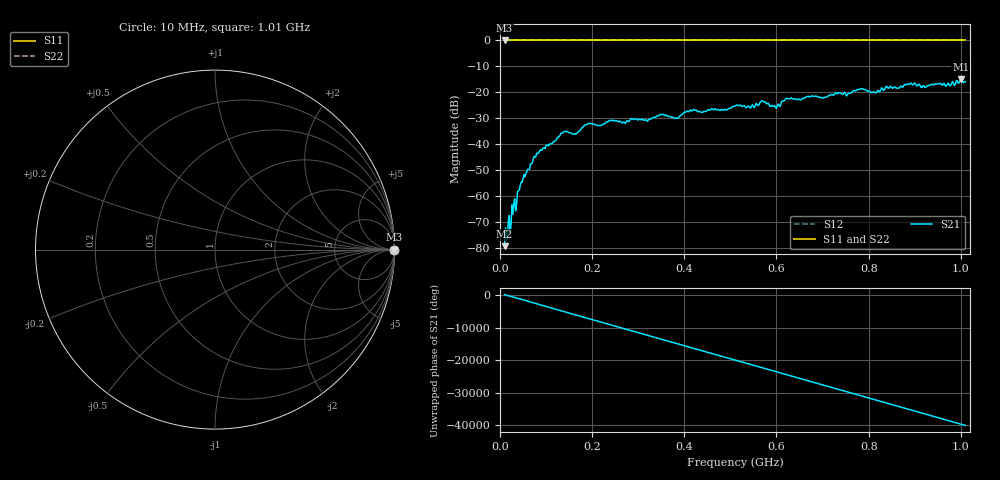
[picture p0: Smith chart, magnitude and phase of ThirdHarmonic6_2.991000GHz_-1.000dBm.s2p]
! 8/17/2025 8:31:34 AM
! C:\ANRITSUVNA\TEMP\TEMP.S2P
! CHANNEL.1
! TR.MEASUREMENT
! RAW.DATA
! RF.CORRECTION.OFF
! AVERAGING.OFF
! IF.BANDWIDTH: 5KHZ
! SWEEPTYPE:  FREQ.SWEEP(Linear)
! Reference Plane Port Info
! PORT:  PORT1  PORT2
! DISTANCE:  0  m  0  m
! TIME:  0  s  0  s
! PHASE.OFFSET:  0  deg.  0  deg.
! LOSS:  0  dB  0  dB
! REF.LOSS:  0  dB  0  dB
! REF.FREQ:  0  Hz  0  Hz
! Power Info
! POWER:  -20  dBm  -20  dBm
! EFF.POWER:  -20  dBm  -20  dBm
! SOURCE.ATTEN:  0  dB  0  dB
! TEST.ATTEN:  0  dB  0  dB
# GHZ S RI R 50.0
! FREQ.GHZ  S11RE  S11IM  S21RE  S21IM  S12RE  S12IM  S22RE  S22IM
!; PortSelection: Port_12
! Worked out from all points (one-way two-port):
!   501 points, 10 MHz to 1.01 GHz, reference 50 ohm
!   highest |S21| = -14.99 dB at 1 GHz (marker M1); lowest = -79.3 dB at 10 MHz (marker M2)
!   lowest |S11| = 0.0 dB at 10 MHz (marker M3)
!   |S11| at or under -10 dB: nowhere
!   |S22| runs from 0.0 to 0.0 dB; largest |S21 - S12| = 1.2
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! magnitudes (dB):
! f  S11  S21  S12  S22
! 10 MHz  0.0  -79.3  0.0  0.0
! 20 MHz  0.0  -67.5  0.0  0.0
! 42 MHz  0.0  -57.6  0.0  0.0
! 76 MHz  0.0  -45.0  0.0  0.0
! 136 MHz  0.0  -35.6  0.0  0.0
! 162 MHz  0.0  -36.0  0.0  0.0
! 178 MHz  0.0  -33.6  0.0  0.0
! 344 MHz  0.0  -29.0  0.0  0.0
! 382 MHz  0.0  -29.9  0.0  0.0
! 416 MHz  0.0  -27.2  0.0  0.0
! 510 MHz  0.0  -25.3  0.0  0.0
! 548 MHz  0.0  -24.8  0.0  0.0
! 570 MHz  0.0  -23.4  0.0  0.0
! 596 MHz  0.0  -25.1  0.0  0.0
! 624 MHz  0.0  -22.4  0.0  0.0
! 678 MHz  0.0  -21.4  0.0  0.0
! 754 MHz  0.0  -21.0  0.0  0.0
! 782 MHz  0.0  -18.7  0.0  0.0
! 812 MHz  0.0  -19.9  0.0  0.0
! 844 MHz  0.0  -18.4  0.0  0.0
! 1 GHz  0.0  -15.0  0.0  0.0
! 1.01 GHz  0.0  -15.9  0.0  0.0
